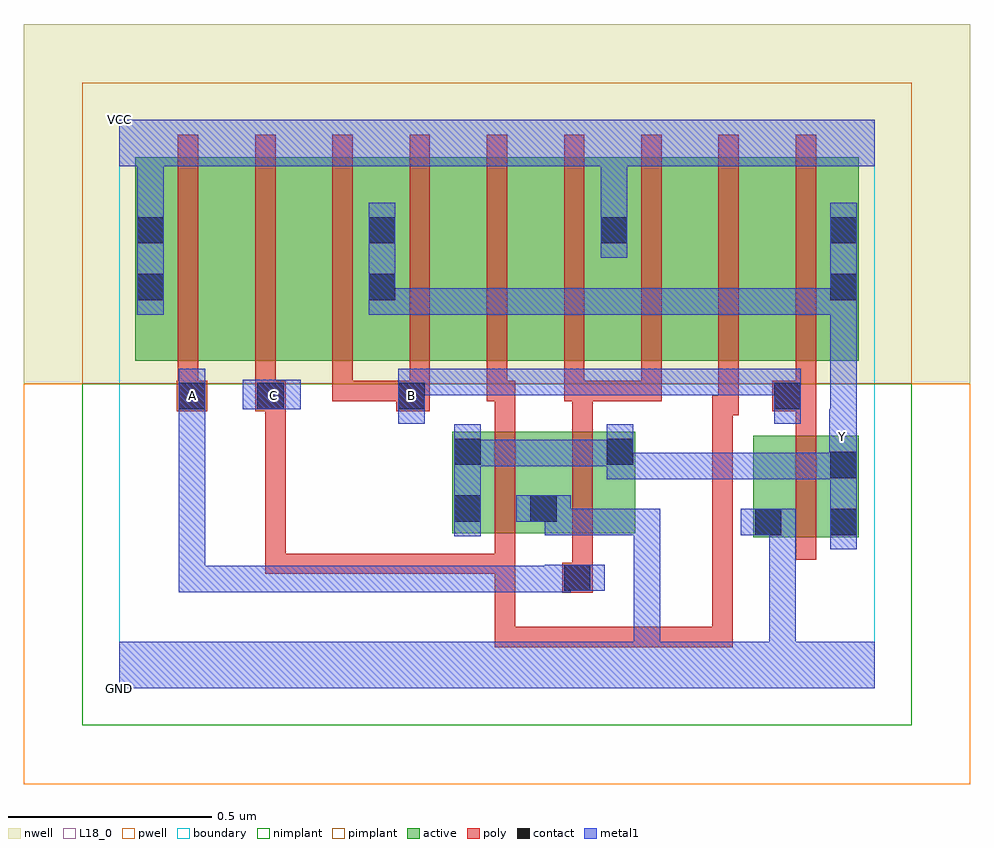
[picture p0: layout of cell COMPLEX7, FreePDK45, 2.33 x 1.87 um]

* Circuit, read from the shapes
.subckt COMPLEX7 A B C GND VCC Y
M1 GND C Y VSUBS nfet w=0.25u l=0.05u
M2 Y A GND VSUBS nfet w=0.25u l=0.05u
M3 Y B GND VSUBS nfet w=0.25u l=0.05u
M4 n1 A VCC n2 pfet w=0.5u l=0.05u
M5 n3 C n1 n2 pfet w=0.5u l=0.05u
M6 Y B n3 n2 pfet w=0.5u l=0.05u
M7 n4 B Y n2 pfet w=0.5u l=0.05u
M8 n5 C n4 n2 pfet w=0.5u l=0.05u
M9 VCC A n5 n2 pfet w=0.5u l=0.05u
M10 n6 A VCC n2 pfet w=0.5u l=0.05u
M11 n7 C n6 n2 pfet w=0.5u l=0.05u
M12 Y B n7 n2 pfet w=0.5u l=0.05u
.ends

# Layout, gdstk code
import gdstk
lib = gdstk.Library(unit=1e-6, precision=1e-09)
def R(c, l, rs):  # rectangles x0, y0, x1, y1
    for r in rs: c.add(gdstk.rectangle(r[:2], r[2:], *l))
def A(c, l, x, y, w, h, nx, ny, dx, dy):  # array of equal rectangles
    R(c, l, [(x+i*dx, y+j*dy, x+i*dx+w, y+j*dy+h) for i in range(nx) for j in range(ny)])
active = (1, 0)
pwell = (2, 0)
nwell = (3, 0)
nimplant = (4, 0)
pimplant = (5, 0)
poly = (9, 0)
contact = (10, 0)
metal1 = (11, 0)
L18_0 = (18, 0)
boundary = (235, 0)

complex7 = lib.new_cell('COMPLEX7')
A(complex7, active, 0.04, 0.807, 0.225, 0.5, 3, 1, 0.57, 0)
A(complex7, active, 0.265, 0.807, 0.19, 0.5, 3, 1, 0.57, 0)
R(complex7, active, [(1.56,0.372,1.635,0.622), (1.56,0.372,1.82,0.622), (1.745,0.372,1.82,0.622), (0.82,0.382,1.082,0.632), (1.007,0.382,1.27,0.632), (0.82,0.405,0.895,0.632), (1.007,0.405,1.082,0.497), (1.195,0.445,1.27,0.632), (0.04,0.807,0.115,1.307), (0.455,0.807,0.685,1.307), (0.61,0.807,0.685,1.2), (1.025,0.807,1.255,1.307), (1.18,0.807,1.255,1.307), (1.595,0.807,1.82,1.307), (1.745,0.807,1.82,1.2)])
R(complex7, pwell, [(-0.235,-0.235,2.095,0.75)])
R(complex7, nwell, [(-0.235,0.75,2.095,1.635)])
R(complex7, nimplant, [(-0.09,-0.09,1.95,0.75)])
R(complex7, pimplant, [(-0.09,0.75,1.95,1.49)])
A(complex7, poly, 0.145, 0.707, 0.05, 0.095, 7, 1, 0.19, 0)
A(complex7, poly, 0.145, 0.752, 0.05, 0.61, 9, 1, 0.19, 0)
R(complex7, poly, [(0.925,0.102,0.975,0.152), (0.925,0.102,1.107,0.152), (0.925,0.102,0.975,0.332), (1.057,0.102,1.107,0.152), (1.057,0.102,1.107,0.152), (1.057,0.102,1.107,0.152), (1.057,0.102,1.377,0.152), (1.327,0.102,1.377,0.152), (1.327,0.102,1.377,0.152), (1.327,0.102,1.377,0.152), (1.327,0.102,1.51,0.152), (1.46,0.102,1.51,0.722), (1.46,0.102,1.51,0.152), (1.46,0.102,1.51,0.152), (1.46,0.102,1.51,0.152), (1.46,0.102,1.51,0.152), (1.46,0.102,1.51,0.152), (1.46,0.102,1.51,0.152), (1.46,0.102,1.51,0.152), (1.46,0.102,1.51,0.152), (1.46,0.102,1.51,0.152), (1.09,0.235,1.165,0.31), (1.115,0.26,1.165,0.377), (0.36,0.282,0.41,0.332), (0.36,0.282,0.41,0.332), (0.36,0.282,0.41,0.332), (0.36,0.282,0.542,0.332), (0.36,0.282,0.41,0.732), (0.492,0.282,0.542,0.332), (0.492,0.282,0.542,0.332), (0.492,0.282,0.542,0.332), (0.492,0.282,0.542,0.332), (0.492,0.282,0.542,0.332), (0.492,0.282,0.822,0.332), (0.772,0.282,0.822,0.332), (0.772,0.282,0.975,0.332), (0.925,0.282,0.975,0.377), (0.925,0.282,0.975,0.332), (0.925,0.282,0.975,0.332), (0.925,0.282,0.975,0.332), (1.665,0.317,1.715,0.677), (0.925,0.327,0.975,0.687), (1.115,0.327,1.165,0.687), (1.665,0.627,1.715,0.732), (0.925,0.637,0.975,0.757), (1.115,0.637,1.165,0.757), (1.46,0.672,1.525,0.722), (1.475,0.672,1.525,0.802), (0.142,0.682,0.217,0.757), (0.335,0.682,0.41,0.757), (0.36,0.682,0.41,0.732), (0.36,0.682,0.41,0.732), (0.682,0.682,0.765,0.757), (1.607,0.682,1.715,0.757), (0.525,0.707,0.575,0.757), (0.525,0.707,0.732,0.757), (0.682,0.707,0.732,0.757), (0.682,0.707,0.732,0.757), (0.905,0.707,0.975,0.757), (1.095,0.707,1.165,0.757), (1.115,0.707,1.335,0.757), (1.285,0.707,1.335,0.757), (1.285,0.707,1.335,0.757), (1.285,0.707,1.335,0.757), (1.665,0.707,1.715,0.802)])
A(complex7, contact, 0.045, 1.095, 0.065, 0.065, 3, 1, 0.57, 0)
R(complex7, contact, [(1.095,0.24,1.16,0.305), (1.565,0.377,1.63,0.442), (1.75,0.377,1.815,0.442), (0.825,0.41,0.89,0.475), (1.012,0.41,1.077,0.475), (1.75,0.517,1.815,0.582), (0.825,0.55,0.89,0.615), (1.2,0.55,1.265,0.615), (0.147,0.687,0.212,0.752), (0.34,0.687,0.405,0.752), (0.687,0.687,0.752,0.752), (1.612,0.687,1.677,0.752), (0.045,0.955,0.11,1.02), (0.615,0.955,0.68,1.02), (1.75,0.955,1.815,1.02), (1.75,1.095,1.815,1.16)])
R(complex7, metal1, [(0,0,1.86,0.115), (1.267,0.05,1.332,0.115), (1.267,0.05,1.332,0.115), (1.267,0.05,1.332,0.115), (1.267,0.05,1.332,0.115), (1.267,0.05,1.332,0.115), (1.267,0.05,1.332,0.115), (1.267,0.05,1.332,0.442), (1.6,0.05,1.665,0.115), (1.6,0.05,1.665,0.115), (1.6,0.05,1.665,0.115), (1.6,0.05,1.665,0.115), (1.6,0.05,1.665,0.115), (1.6,0.05,1.665,0.115), (1.6,0.05,1.665,0.442), (0.147,0.237,0.212,0.302), (0.147,0.237,0.35,0.302), (0.147,0.237,0.212,0.717), (0.285,0.237,0.35,0.302), (0.285,0.237,0.35,0.302), (0.285,0.237,0.35,0.302), (0.285,0.237,0.487,0.302), (0.422,0.237,0.487,0.302), (0.422,0.237,0.752,0.302), (0.687,0.237,0.752,0.302), (0.687,0.237,0.752,0.302), (0.687,0.237,0.752,0.302), (0.687,0.237,0.752,0.302), (0.687,0.237,0.752,0.302), (0.687,0.237,0.752,0.302), (0.687,0.237,0.752,0.302), (0.687,0.237,0.89,0.302), (0.825,0.237,0.89,0.302), (0.825,0.237,0.89,0.302), (0.825,0.237,0.89,0.302), (0.825,0.237,1.112,0.302), (1.047,0.237,1.112,0.305), (1.047,0.24,1.112,0.305), (1.047,0.24,1.195,0.305), (1.75,0.342,1.815,0.617), (0.825,0.375,0.89,0.65), (1.047,0.377,1.332,0.442), (1.047,0.377,1.112,0.475), (1.267,0.377,1.332,0.442), (1.53,0.377,1.665,0.442), (0.977,0.41,1.112,0.475), (1.047,0.41,1.112,0.475), (1.2,0.515,1.402,0.58), (1.2,0.515,1.265,0.65), (1.337,0.515,1.402,0.58), (1.337,0.515,1.402,0.58), (1.337,0.515,1.402,0.58), (1.337,0.515,1.54,0.58), (1.475,0.515,1.54,0.58), (1.475,0.515,1.54,0.58), (1.475,0.515,1.54,0.58), (1.475,0.515,1.815,0.58), (1.75,0.515,1.815,0.58), (1.75,0.515,1.815,0.58), (0.825,0.547,0.89,0.612), (0.825,0.547,0.89,0.612), (0.825,0.547,1.027,0.612), (0.962,0.547,1.027,0.612), (0.962,0.547,1.027,0.612), (0.962,0.547,1.027,0.612), (0.962,0.547,1.265,0.612), (1.747,0.552,1.815,0.687), (1.75,0.552,1.815,0.617), (1.75,0.622,1.815,0.985), (0.147,0.652,0.212,0.717), (0.147,0.652,0.212,0.717), (0.147,0.652,0.212,0.787), (0.687,0.652,0.752,0.787), (1.612,0.652,1.677,0.787), (0.305,0.687,0.447,0.76), (0.687,0.722,0.89,0.787), (0.825,0.722,0.89,0.787), (0.825,0.722,0.89,0.787), (0.825,0.722,0.89,0.787), (0.825,0.722,1.027,0.787), (0.962,0.722,1.027,0.787), (0.962,0.722,1.265,0.787), (1.2,0.722,1.265,0.787), (1.2,0.722,1.265,0.787), (1.2,0.722,1.265,0.787), (1.2,0.722,1.402,0.787), (1.337,0.722,1.402,0.787), (1.337,0.722,1.402,0.787), (1.337,0.722,1.402,0.787), (1.337,0.722,1.54,0.787), (1.475,0.722,1.54,0.787), (1.475,0.722,1.54,0.787), (1.475,0.722,1.54,0.787), (1.475,0.722,1.677,0.787), (0.045,0.92,0.11,1.195), (0.615,0.92,0.68,0.985), (0.615,0.92,0.68,0.985), (0.615,0.92,0.68,1.195), (0.615,0.92,0.89,0.985), (0.825,0.92,0.89,0.985), (0.825,0.92,0.89,0.985), (0.825,0.92,0.89,0.985), (0.825,0.92,1.027,0.985), (0.962,0.92,1.027,0.985), (0.962,0.92,1.25,0.985), (1.185,0.92,1.25,0.985), (1.185,0.92,1.25,0.985), (1.185,0.92,1.25,0.985), (1.185,0.92,1.402,0.985), (1.337,0.92,1.402,0.985), (1.337,0.92,1.402,0.985), (1.337,0.92,1.402,0.985), (1.337,0.92,1.54,0.985), (1.475,0.92,1.54,0.985), (1.475,0.92,1.54,0.985), (1.475,0.92,1.54,0.985), (1.475,0.92,1.815,0.985), (1.75,0.92,1.815,0.985), (1.75,0.92,1.815,0.985), (1.75,0.92,1.815,1.195), (1.185,1.06,1.25,1.195), (0.045,1.13,0.11,1.35), (1.185,1.13,1.25,1.35), (0,1.285,1.86,1.4)])
R(complex7, L18_0, [(0,0,1.86,0.115), (1.267,0.05,1.332,0.115), (1.267,0.05,1.332,0.115), (1.267,0.05,1.332,0.115), (1.267,0.05,1.332,0.115), (1.267,0.05,1.332,0.115), (1.267,0.05,1.332,0.115), (1.267,0.05,1.332,0.442), (1.6,0.05,1.665,0.115), (1.6,0.05,1.665,0.115), (1.6,0.05,1.665,0.115), (1.6,0.05,1.665,0.115), (1.6,0.05,1.665,0.115), (1.6,0.05,1.665,0.115), (1.6,0.05,1.665,0.442), (0.147,0.237,0.212,0.302), (0.147,0.237,0.212,0.717), (0.147,0.237,0.35,0.302), (0.285,0.237,0.35,0.302), (0.285,0.237,0.35,0.302), (0.285,0.237,0.35,0.302), (0.285,0.237,0.487,0.302), (0.422,0.237,0.487,0.302), (0.422,0.237,0.752,0.302), (0.687,0.237,0.752,0.302), (0.687,0.237,0.752,0.302), (0.687,0.237,0.752,0.302), (0.687,0.237,0.752,0.302), (0.687,0.237,0.752,0.302), (0.687,0.237,0.752,0.302), (0.687,0.237,0.752,0.302), (0.687,0.237,0.89,0.302), (0.825,0.237,0.89,0.302), (0.825,0.237,0.89,0.302), (0.825,0.237,0.89,0.302), (0.825,0.237,1.112,0.302), (1.047,0.237,1.112,0.305), (1.047,0.24,1.112,0.305), (1.047,0.24,1.195,0.305), (1.75,0.342,1.815,0.617), (0.825,0.375,0.89,0.65), (1.047,0.377,1.112,0.475), (1.047,0.377,1.332,0.442), (1.267,0.377,1.332,0.442), (1.53,0.377,1.665,0.442), (0.977,0.41,1.112,0.475), (1.047,0.41,1.112,0.475), (1.2,0.515,1.265,0.65), (1.2,0.515,1.402,0.58), (1.337,0.515,1.402,0.58), (1.337,0.515,1.402,0.58), (1.337,0.515,1.402,0.58), (1.337,0.515,1.54,0.58), (1.475,0.515,1.54,0.58), (1.475,0.515,1.54,0.58), (1.475,0.515,1.54,0.58), (1.475,0.515,1.815,0.58), (1.75,0.515,1.815,0.58), (1.75,0.515,1.815,0.58), (0.825,0.547,0.89,0.612), (0.825,0.547,0.89,0.612), (0.825,0.547,1.027,0.612), (0.962,0.547,1.027,0.612), (0.962,0.547,1.027,0.612), (0.962,0.547,1.027,0.612), (0.962,0.547,1.265,0.612), (1.747,0.552,1.815,0.687), (1.75,0.552,1.815,0.617), (1.747,0.587,1.812,0.652), (1.75,0.622,1.815,0.985), (0.147,0.652,0.212,0.787), (0.147,0.652,0.212,0.717), (0.147,0.652,0.212,0.717), (0.687,0.652,0.752,0.787), (1.612,0.652,1.677,0.787), (0.147,0.687,0.212,0.752), (0.305,0.687,0.447,0.76), (0.347,0.687,0.412,0.752), (0.687,0.687,0.752,0.752), (0.687,0.722,0.89,0.787), (0.825,0.722,0.89,0.787), (0.825,0.722,0.89,0.787), (0.825,0.722,0.89,0.787), (0.825,0.722,1.027,0.787), (0.962,0.722,1.027,0.787), (0.962,0.722,1.265,0.787), (1.2,0.722,1.265,0.787), (1.2,0.722,1.265,0.787), (1.2,0.722,1.265,0.787), (1.2,0.722,1.402,0.787), (1.337,0.722,1.402,0.787), (1.337,0.722,1.402,0.787), (1.337,0.722,1.402,0.787), (1.337,0.722,1.54,0.787), (1.475,0.722,1.54,0.787), (1.475,0.722,1.54,0.787), (1.475,0.722,1.54,0.787), (1.475,0.722,1.677,0.787), (0.045,0.92,0.11,1.195), (0.615,0.92,0.68,1.195), (0.615,0.92,0.68,0.985), (0.615,0.92,0.68,0.985), (0.615,0.92,0.89,0.985), (0.825,0.92,0.89,0.985), (0.825,0.92,0.89,0.985), (0.825,0.92,0.89,0.985), (0.825,0.92,1.027,0.985), (0.962,0.92,1.027,0.985), (0.962,0.92,1.25,0.985), (1.185,0.92,1.25,0.985), (1.185,0.92,1.25,0.985), (1.185,0.92,1.25,0.985), (1.185,0.92,1.402,0.985), (1.337,0.92,1.402,0.985), (1.337,0.92,1.402,0.985), (1.337,0.92,1.402,0.985), (1.337,0.92,1.54,0.985), (1.475,0.92,1.54,0.985), (1.475,0.92,1.54,0.985), (1.475,0.92,1.54,0.985), (1.475,0.92,1.815,0.985), (1.75,0.92,1.815,1.195), (1.75,0.92,1.815,0.985), (1.75,0.92,1.815,0.985), (1.185,1.06,1.25,1.195), (0.045,1.13,0.11,1.35), (1.185,1.13,1.25,1.35), (0,1.285,1.86,1.4)])
R(complex7, boundary, [(0,0,1.86,1.4)])
complex7.add(gdstk.Label('A', (0.18,0.72), layer=11, texttype=0))
complex7.add(gdstk.Label('B', (0.72,0.72), layer=11, texttype=0))
complex7.add(gdstk.Label('C', (0.38,0.72), layer=11, texttype=0))
complex7.add(gdstk.Label('Y', (1.78,0.62), layer=11, texttype=0))
complex7.add(gdstk.Label('VCC', (0,1.4), layer=11, texttype=0))
complex7.add(gdstk.Label('GND', (0,0), layer=11, texttype=0))

lib.write_gds('COMPLEX7.gds')
